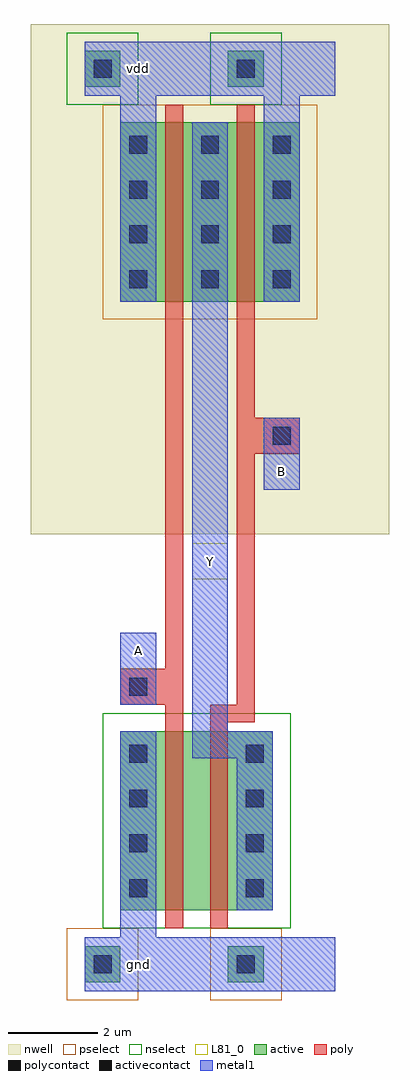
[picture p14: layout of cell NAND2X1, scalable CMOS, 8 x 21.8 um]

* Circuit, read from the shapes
.subckt NAND2X1 A B Y gnd vdd
M1 n1 A gnd gnd nfet w=4u l=0.4u
M2 Y B n1 gnd nfet w=4u l=0.4u
M3 Y A vdd vdd pfet w=4u l=0.4u
M4 vdd B Y vdd pfet w=4u l=0.4u
.ends

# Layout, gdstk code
import gdstk
lib = gdstk.Library(unit=1e-6, precision=1e-09)
def R(c, l, rs):  # rectangles x0, y0, x1, y1
    for r in rs: c.add(gdstk.rectangle(r[:2], r[2:], *l))
def A(c, l, x, y, w, h, nx, ny, dx, dy):  # array of equal rectangles
    R(c, l, [(x+i*dx, y+j*dy, x+i*dx+w, y+j*dy+h) for i in range(nx) for j in range(ny)])
nwell = (42, 0)
active = (43, 0)
pselect = (44, 0)
nselect = (45, 0)
poly = (46, 0)
polycontact = (47, 0)
activecontact = (48, 0)
metal1 = (49, 0)
L81_0 = (81, 0)

nand2x1 = lib.new_cell('NAND2X1')
R(nand2x1, nwell, [(-1.6,9.6,6.4,21)])
R(nand2x1, active, [(-0.4,-0.4,0.4,0.4), (2.8,-0.4,3.6,0.4), (0.4,1.2,3.8,5.2), (0.4,14.8,4.4,18.8), (-0.4,19.6,0.4,20.4), (2.8,19.6,3.6,20.4)])
R(nand2x1, pselect, [(-0.8,-0.8,0.8,0.8), (2.4,-0.8,4,0.8), (0,14.4,4.8,19.2)])
R(nand2x1, nselect, [(0,0.8,4.2,5.6), (-0.8,19.2,0.8,20.8), (2.4,19.2,4,20.8)])
R(nand2x1, poly, [(1.4,0.8,1.8,5.8), (2.4,0.8,2.8,5.4), (2.4,5.4,3.4,5.8), (0.4,5.8,1.8,6.6), (3,5.8,3.4,11.4), (1.4,6.6,1.8,19.2), (3,11.4,4.4,12.2), (3,12.2,3.4,19.2)])
R(nand2x1, polycontact, [(0.6,6,1,6.4), (3.8,11.6,4.2,12)])
A(nand2x1, activecontact, 0.6, 1.5, 0.4, 0.4, 1, 4, 0, 1)
A(nand2x1, activecontact, 3.2, 1.5, 0.4, 0.4, 1, 4, 0, 1)
A(nand2x1, activecontact, 0.6, 15.1, 0.4, 0.4, 3, 4, 1.6, 1)
R(nand2x1, activecontact, [(-0.2,-0.2,0.2,0.2), (3,-0.2,3.4,0.2), (-0.2,19.8,0.2,20.2), (3,19.8,3.4,20.2)])
R(nand2x1, metal1, [(-0.4,-0.6,5.2,0.6), (0.4,0.6,1.2,5.2), (3,1.2,3.8,4.6), (2,4.6,3.8,5.2), (2,5.2,2.8,18.8), (0.4,5.8,1.2,7.4), (3.6,10.6,4.4,12.2), (0.4,14.8,1.2,19.4), (3.6,14.8,4.4,19.4), (-0.4,19.4,5.2,20.6)])
R(nand2x1, L81_0, [(0.4,6.6,1.2,7.4), (2,8.6,2.8,9.4), (3.6,10.6,4.4,11.4)])
nand2x1.add(gdstk.Label('vdd', (0.8,20), layer=109, texttype=0))
nand2x1.add(gdstk.Label('Y', (2.4,9), layer=109, texttype=0))
nand2x1.add(gdstk.Label('gnd', (0.8,0), layer=109, texttype=0))
nand2x1.add(gdstk.Label('A', (0.8,7), layer=109, texttype=0))
nand2x1.add(gdstk.Label('B', (4,11), layer=109, texttype=0))

lib.write_gds('NAND2X1.gds')
